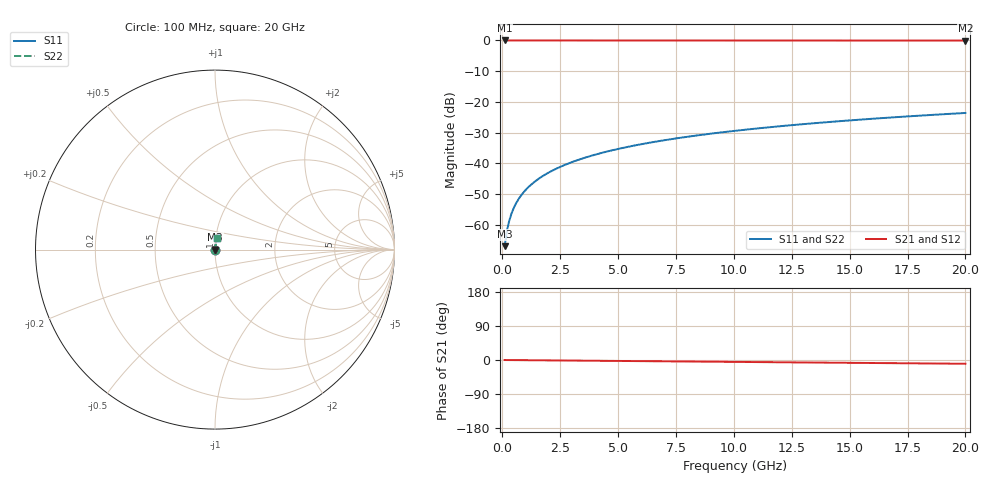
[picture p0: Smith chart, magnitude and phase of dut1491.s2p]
! Touchstone file exported from HFSS 2026.1.0
!  File:  C:/ffzhzh/LocalFiles/Ansys_Project_Files/temp_train_TSV_1491_1783198801_22436.aedt
!  Generated:  05:01:56 AM Jul  5, 2026
!  Design:  TSV
!  Project:  temp_train_TSV_1491_1783198801_22436
! Variables:
!  h_bsmrdl = 2um
!  h_ox = 20um
!  h_rdl = 5um
!  h_sub = 89.88um
!  h_tmrdl = 5um
!  h_tsv = 89.88um
!  h_via = 3um
!  l_bsmrdl = 300um
!  l_sub = 414.28um
!  l_tmrdl = 200um
!  m_sub = 200um
!  pitch = 50.17um
!  r_tsv = 7.14um
!  s_tmrdl = 10um
!  w_bsmrdl = 18um
!  w_sub = 500um
!  w_tmrdl = 12um
!  x_tsv_center1 = 206um
!  x_tsv_center2 = 524um
!  x_tsv_center3 = 736um
!  x_tsv_center4 = 1054um
!  x_tsv_center5 = 1266um
!  x_tsv_center6 = 1584um
# GHz S MA R 50.000000
! Terminal data exported
! Port[1] = TSV1_1_T1
! Port[2] = TSV1_1_T2
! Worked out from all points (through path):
!   200 points, 100 MHz to 20 GHz, reference 50 ohm
!   highest |S21| = 0.00 dB at 100 MHz (marker M1); lowest = 0.0 dB at 20 GHz (marker M2)
!   group delay of S21, straight-line fit = 1.37 ps
!   lowest |S11| = -67.0 dB at 100 MHz (marker M3), VSWR 1.00, Z = 50 + j0.0378 ohm
!   |S11| at or under -10 dB: start of sweep to end of sweep
!   |S22| runs from -67.0 to -23.6 dB; largest |S21 - S12| = 5e-15
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0.1  0.0004453 58.0  0.9998 -0.1  0.9998 -0.1  0.0004453 58.0
! Gamma 0 0 0 0
! Port Impedance 50 0 50 0
0.2  0.0007929 71.9  0.9998 -0.1  0.9998 -0.1  0.0007929 71.9
0.3  0.001156 76.8  0.9997 -0.2  0.9997 -0.2  0.001156 76.8
0.4  0.001521 79.2  0.9997 -0.2  0.9997 -0.2  0.001521 79.2
0.5  0.001883 80.5  0.9997 -0.3  0.9997 -0.3  0.001883 80.5
0.6  0.002241 81.3  0.9997 -0.3  0.9997 -0.3  0.002241 81.3
0.7  0.002595 81.9  0.9996 -0.4  0.9996 -0.4  0.002595 81.9
0.8  0.002946 82.3  0.9996 -0.4  0.9996 -0.4  0.002946 82.3
1  0.00364 82.9  0.9996 -0.5  0.9996 -0.5  0.00364 82.9
1.4  0.005006 83.6  0.9995 -0.7  0.9995 -0.7  0.005006 83.6
1.7  0.006022 84.0  0.9994 -0.9  0.9994 -0.9  0.006022 84.0
2  0.007035 84.3  0.9994 -1.0  0.9994 -1.0  0.007035 84.3
2.7  0.009393 84.6  0.9993 -1.4  0.9993 -1.4  0.009393 84.6
3.5  0.01208 84.7  0.9992 -1.8  0.9992 -1.8  0.01208 84.7
4.2  0.01442 84.7  0.9991 -2.1  0.9991 -2.1  0.01442 84.7
5  0.01708 84.5  0.999 -2.5  0.999 -2.5  0.01708 84.5
6.8  0.02304 84.0  0.9987 -3.4  0.9987 -3.4  0.02304 84.0
8.3  0.02798 83.5  0.9985 -4.1  0.9985 -4.1  0.02798 83.5
10.1  0.03388 82.8  0.9982 -5.0  0.9982 -5.0  0.03388 82.8
13.4  0.04464 81.5  0.9976 -6.7  0.9976 -6.7  0.04464 81.5
16.7  0.05532 80.1  0.9969 -8.3  0.9969 -8.3  0.05532 80.1
20  0.06589 78.6  0.9961 -9.9  0.9961 -9.9  0.06589 78.6
